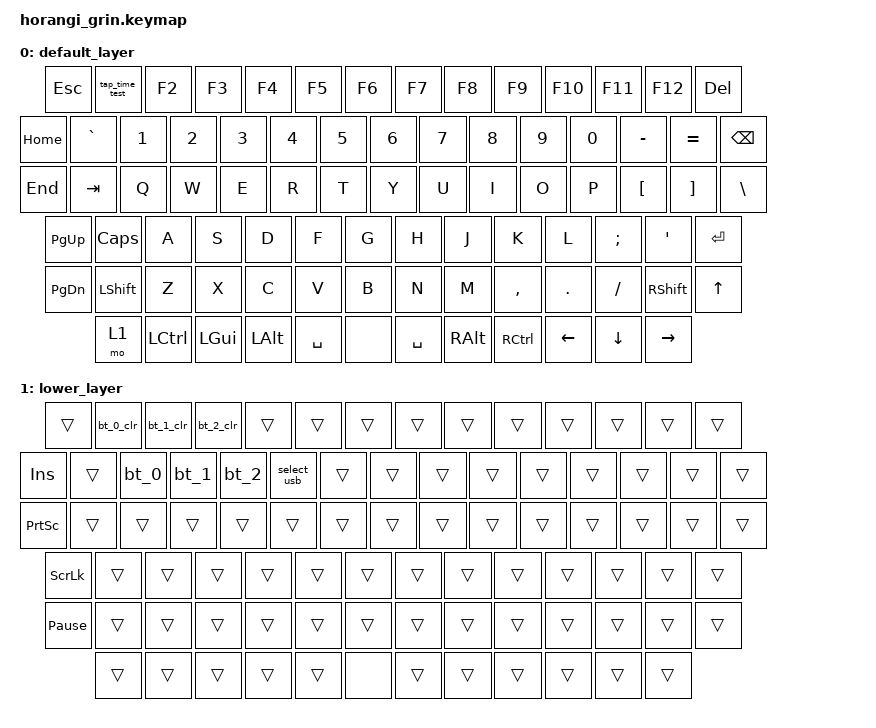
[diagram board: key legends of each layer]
#include <behaviors.dtsi>
#include <dt-bindings/zmk/keys.h>
#include <dt-bindings/zmk/bt.h>
#include <dt-bindings/zmk/ext_power.h>
#include <dt-bindings/zmk/outputs.h>

/ {
    macros {
        bt_0: bt_profile_macro_0 {
            label = "BT_0";
            compatible = "zmk,behavior-macro";
            #binding-cells = <0>;
            bindings
                = <&out OUT_BLE>
                , <&bt BT_SEL 0>
                , <&macro_wait_time 300>
                , <&bt BT_DISC 1>
                , <&bt BT_DISC 2>;
        };

        bt_1: bt_profile_macro_1 {
            label = "BT_1";
            compatible = "zmk,behavior-macro";
            #binding-cells = <0>;
            bindings
                = <&out OUT_BLE>
                , <&bt BT_SEL 1>
                , <&macro_wait_time 300>
                , <&bt BT_DISC 0>
                , <&bt BT_DISC 2>;
        };
        
        bt_2: bt_profile_macro_2 {
            label = "BT_2";
            compatible = "zmk,behavior-macro";
            #binding-cells = <0>;
            bindings
                = <&out OUT_BLE>
                , <&bt BT_SEL 2>
                , <&macro_wait_time 300>
                , <&bt BT_DISC 1>
                , <&bt BT_DISC 2>;
        };

        select_usb: usb_profile_macro {
            label = "SELECT_USB";
            compatible = "zmk,behavior-macro";
            #binding-cells = <0>;
            bindings
                = <&out OUT_USB>
                , <&macro_wait_time 300>
                , <&bt BT_DISC 0>
                , <&bt BT_DISC 1>
                , <&bt BT_DISC 2>;
        };

        bt_0_clr: bt_profile_macro_0_clr {
            label = "BT_0_CLR";
            compatible = "zmk,behavior-macro";
            #binding-cells = <0>;
            bindings
                = <&out OUT_BLE>
                , <&bt BT_SEL 0>
                , <&macro_wait_time 300>
                , <&bt BT_CLR>;
        };

        bt_1_clr: bt_profile_macro_1_clr {
            label = "BT_1_CLR";
            compatible = "zmk,behavior-macro";
            #binding-cells = <0>;
            bindings
                = <&out OUT_BLE>
                , <&bt BT_SEL 1>
                , <&macro_wait_time 300>
                , <&bt BT_CLR>;
        };

        bt_2_clr: bt_profile_macro_2_clr {
            label = "BT_2_CLR";
            compatible = "zmk,behavior-macro";
            #binding-cells = <0>;
            bindings
                = <&out OUT_BLE>
                , <&bt BT_SEL 2>
                , <&macro_wait_time 300>
                , <&bt BT_CLR>;
        };

        tap_time_test: tap_time_test {
            label = "tap_time_test";
            compatible = "zmk,behavior-macro";
            #binding-cells = <0>;
            bindings
                = <&macro_wait_time 500>
                , <&kp F>
                , <&kp S>
                , <&kp T>
                , <&kp A>;
        };

        tap_time_test2: tap_time_test2 {
            label = "tap_time_test2";
            compatible = "zmk,behavior-macro";
            #binding-cells = <0>;
            bindings
                = <&macro_tap_time 10>
                , <&kp S &kp H &kp O &kp R &kp T>
                , <&macro_tap_time 500>
                , <&kp L &kp O &kp N &kp G>;
        };

    };

    behaviors {
        as: auto_shift {
            compatible = "zmk,behavior-hold-tap";
            #binding-cells = <2>;
            tapping_term_ms = <200>;
            quick_tap_ms = <0>;
            flavor = "tap-preferred";
            bindings = <&tap_time_test>, <&tap_time_test2>;
        };
    };

    keymap {
        compatible = "zmk,keymap";

        default_layer {
            bindings = <
         &kp ESC &tap_time_test  &kp F2  &kp F3  &kp F4  &kp F5  &kp F6     &kp F7  &kp F8  &kp F9  &kp F10  &kp F11  &kp F12        &kp DEL
&kp HOME &kp GRAVE &kp N1 &kp N2 &kp N3  &kp N4  &kp N5  &kp N6    &kp N7  &kp N8  &kp N9  &kp N0   &kp MINUS &kp EQUAL      &kp BSPC
&kp END  &kp TAB &kp Q   &kp W   &kp E   &kp R   &kp T           &kp Y   &kp U   &kp I   &kp O   &kp P   &kp LBKT &kp RBKT   &kp BSLH
&kp PG_UP &kp CAPS &kp A &kp S   &kp D   &kp F   &kp G            &kp H   &kp J   &kp K   &kp L   &kp SEMI  &kp SQT          &kp ENTER
&kp PG_DN &kp LSHFT &kp Z &kp X  &kp C   &kp V   &kp B              &kp N   &kp M   &kp COMMA &kp DOT &kp SLASH &kp RSHFT &kp UP
&mo 1    &kp LCTRL &kp LGUI &kp LALT     &kp SPACE &none           &kp SPACE    &kp RALT     &kp RCTRL           &kp LEFT &kp DOWN &kp RIGHT
            >;
        };

        lower_layer {
            bindings = <
         &trans &bt_0_clr &bt_1_clr &bt_2_clr &trans &trans &trans    &trans  &trans  &trans  &trans   &trans   &trans         &trans
&kp INS  &trans  &bt_0  &bt_1  &bt_2  &select_usb  &trans  &trans    &trans  &trans  &trans  &trans   &trans   &trans          &trans
&kp PSCRN &trans &trans  &trans  &trans  &trans  &trans          &trans  &trans  &trans  &trans  &trans  &trans   &trans     &trans
&kp SLCK &trans  &trans  &trans  &trans  &trans  &trans           &trans  &trans  &trans  &trans  &trans    &trans           &trans
&kp PAUSE_BREAK &trans &trans &trans &trans &trans &trans            &trans  &trans  &trans  &trans  &trans  &trans      &trans
&trans    &trans   &trans   &trans       &trans     &none           &trans       &trans       &trans              &trans &trans &trans
            >;
        };
       
    };
};
